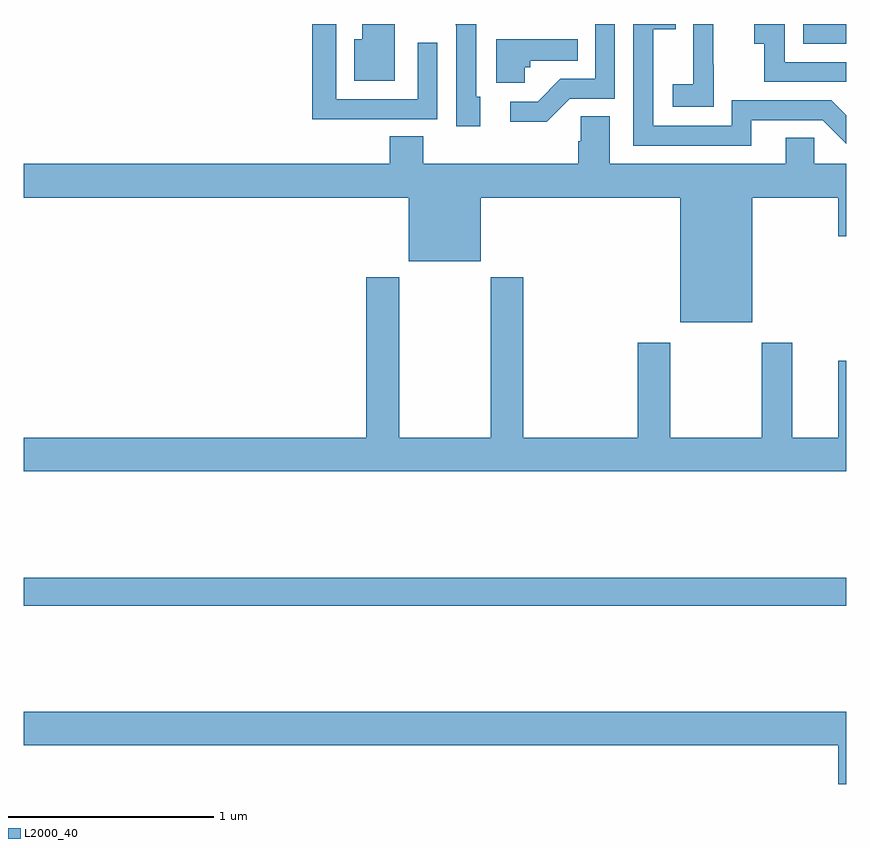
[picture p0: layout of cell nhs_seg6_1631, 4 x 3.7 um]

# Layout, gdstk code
import gdstk
lib = gdstk.Library(unit=1e-6, precision=1e-09)
def R(c, l, rs):  # rectangles x0, y0, x1, y1
    for r in rs: c.add(gdstk.rectangle(r[:2], r[2:], *l))
def P(c, l, *ps):  # polygons
    for p in ps: c.add(gdstk.Polygon(p, *l))
L2000_40 = (2000, 40)

nhs_seg6_1631 = lib.new_cell('nhs_seg6_1631')
R(nhs_seg6_1631, L2000_40, [(209,958.672,213,958.808), (212.79,961.404,213,961.5)])
P(nhs_seg6_1631, L2000_40, [(211.656,961.137),(211.875,961.137),(211.875,961.5),(211.779,961.5),(211.779,961.233),(211.61,961.233),(211.499,961.122),(211.365,961.122),(211.365,961.025),(211.543,961.025)],
  [(210.805,961.5),(210.647,961.5),(210.647,961.426),(210.608,961.426),(210.608,961.223),(210.805,961.223)],
  [(210.695,961.038),(211.011,961.038),(211.011,961.408),(210.915,961.408),(210.915,961.134),(210.519,961.134),(210.519,961.5),(210.403,961.5),(210.403,961.037),(210.695,961.037)],
  [(212.539,961.032),(212.886,961.032),(213,960.918),(213,961.056),(212.928,961.128),(212.442,961.128),(212.442,961.005),(212.061,961.005),(212.061,961.474),(212.171,961.474),(212.171,961.5),(211.965,961.5),(211.965,960.909),(212.539,960.909)],
  [(211.219,961.146),(211.2,961.146),(211.2,961.5),(211.102,961.5),(211.102,961.495),(211.104,961.495),(211.104,961.002),(211.219,961.002)],
  [(212.355,961.303),(212.354,961.303),(212.354,961.5),(212.256,961.5),(212.256,961.436),(212.255,961.436),(212.255,961.207),(212.157,961.207),(212.157,961.097),(212.355,961.097)],
  [(213,961.314),(212.7,961.314),(212.7,961.5),(212.553,961.5),(212.553,961.403),(212.602,961.403),(212.602,961.218),(213,961.218)],
  [(211.437,961.29),(211.464,961.29),(211.464,961.322),(211.694,961.322),(211.694,961.426),(211.298,961.426),(211.298,961.214),(211.437,961.214)],
  [(212.542,960.656),(212.96,960.656),(212.96,960.468),(213,960.468),(213,960.82),(212.844,960.82),(212.844,960.947),(212.705,960.947),(212.705,960.82),(211.849,960.82),(211.849,961.052),(211.71,961.052),(211.71,960.929),(211.697,960.929),(211.697,960.82),(210.944,960.82),(210.944,960.953),(210.779,960.953),(210.779,960.82),(209,960.82),(209,960.656),(210.872,960.656),(210.872,960.347),(211.222,960.347),(211.222,960.656),(212.192,960.656),(212.192,960.05),(212.542,960.05)],
  [(211.985,959.95),(211.985,959.488),(211.43,959.488),(211.43,960.268),(211.27,960.268),(211.27,959.488),(210.825,959.488),(210.825,960.268),(210.665,960.268),(210.665,959.488),(209,959.488),(209,959.324),(213,959.324),(213,959.863),(212.96,959.863),(212.96,959.488),(212.737,959.488),(212.737,959.95),(212.59,959.95),(212.59,959.488),(212.145,959.488),(212.145,959.95)],
  [(213,958.156),(209,958.156),(209,957.992),(212.96,957.992),(212.96,957.804),(213,957.804)])

lib.write_gds('nhs_seg6_1631.gds')
